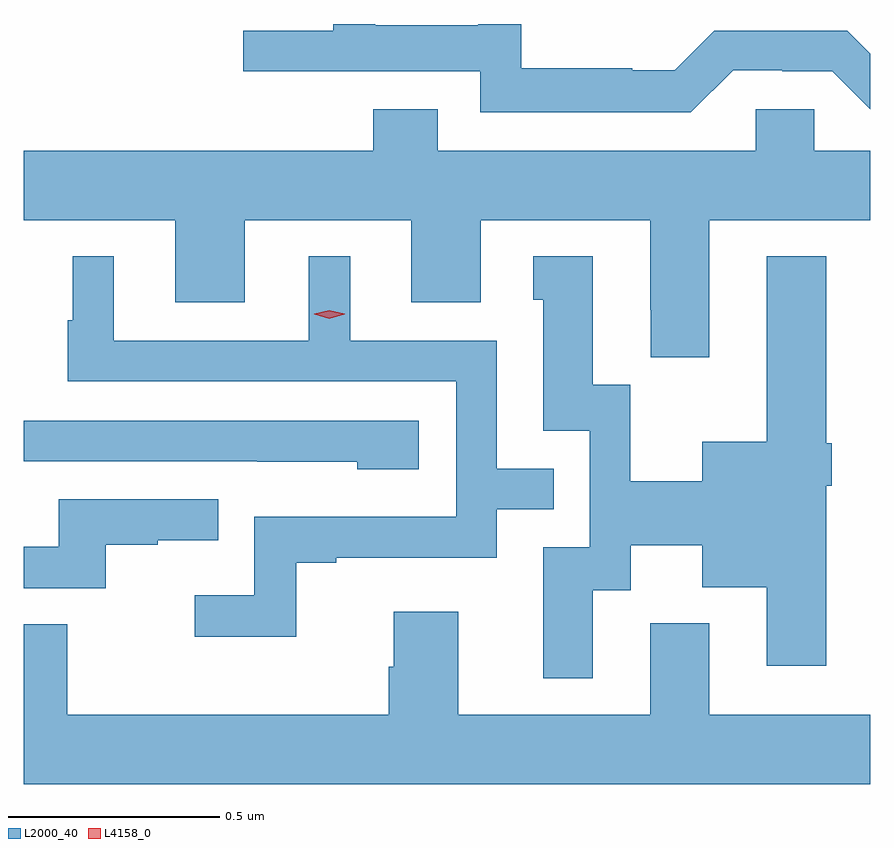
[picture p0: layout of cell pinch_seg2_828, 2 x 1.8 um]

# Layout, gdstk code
import gdstk
lib = gdstk.Library(unit=1e-6, precision=1e-09)
def P(c, l, *ps):  # polygons
    for p in ps: c.add(gdstk.Polygon(p, *l))
L2000_40 = (2000, 40)
L4158_0 = (4158, 0)

pinch_seg2_828 = lib.new_cell('pinch_seg2_828')
P(pinch_seg2_828, L2000_40, [(689.115,597.375),(689.231,597.375),(689.231,597.372),(689.349,597.372),(689.439,597.282),(689.439,597.414),(689.385,597.468),(689.07,597.468),(688.977,597.375),(688.877,597.375),(688.877,597.379),(688.614,597.379),(688.614,597.484),(688.513,597.484),(688.513,597.481),(688.269,597.481),(688.269,597.484),(688.17,597.484),(688.17,597.468),(687.957,597.468),(687.957,597.372),(688.518,597.372),(688.518,597.275),(689.015,597.275)],
  [(689.059,597.02),(689.439,597.02),(689.439,597.184),(689.307,597.184),(689.307,597.282),(689.169,597.282),(689.169,597.184),(688.417,597.184),(688.417,597.283),(688.265,597.283),(688.265,597.184),(687.439,597.184),(687.439,597.02),(687.797,597.02),(687.797,596.826),(687.961,596.826),(687.961,597.02),(688.355,597.02),(688.355,596.826),(688.519,596.826),(688.519,597.02),(688.919,597.02),(688.919,596.809),(688.92,596.809),(688.92,596.697),(689.059,596.697)],
  [(688.783,596.146),(688.873,596.146),(688.873,596.252),(689.042,596.252),(689.042,596.153),(689.195,596.153),(689.195,595.968),(689.335,595.968),(689.335,596.393),(689.348,596.393),(689.348,596.493),(689.335,596.493),(689.335,596.935),(689.195,596.935),(689.195,596.497),(689.042,596.497),(689.042,596.404),(688.872,596.404),(688.872,596.631),(688.783,596.631),(688.783,596.935),(688.643,596.935),(688.643,596.832),(688.667,596.832),(688.667,596.523),(688.776,596.523),(688.776,596.247),(688.667,596.247),(688.667,595.938),(688.783,595.938)],
  [(688.083,596.211),(688.177,596.211),(688.177,596.223),(688.557,596.223),(688.557,596.337),(688.691,596.337),(688.691,596.433),(688.557,596.433),(688.557,596.736),(688.21,596.736),(688.21,596.935),(688.112,596.935),(688.112,596.736),(687.652,596.736),(687.652,596.935),(687.554,596.935),(687.554,596.784),(687.543,596.784),(687.543,596.64),(688.461,596.64),(688.461,596.319),(687.984,596.319),(687.984,596.134),(687.843,596.134),(687.843,596.036),(688.083,596.036)],
  [(688.372,596.547),(687.439,596.547),(687.439,596.451),(687.991,596.451),(687.991,596.45),(688.227,596.45),(688.227,596.432),(688.372,596.432)],
  [(687.632,596.253),(687.755,596.253),(687.755,596.264),(687.899,596.264),(687.899,596.361),(687.522,596.361),(687.522,596.249),(687.439,596.249),(687.439,596.151),(687.632,596.151)],
  [(689.439,595.852),(689.059,595.852),(689.059,596.068),(688.919,596.068),(688.919,595.852),(688.465,595.852),(688.465,596.095),(688.313,596.095),(688.313,595.965),(688.301,595.965),(688.301,595.852),(687.541,595.852),(687.541,596.066),(687.439,596.066),(687.439,595.688),(689.439,595.688)])
P(pinch_seg2_828, L4158_0, [(688.161,596.788),(688.125,596.798),(688.125,596.798),(688.125,596.799),(688.161,596.808),(688.197,596.799),(688.197,596.798),(688.197,596.798)])

lib.write_gds('pinch_seg2_828.gds')
